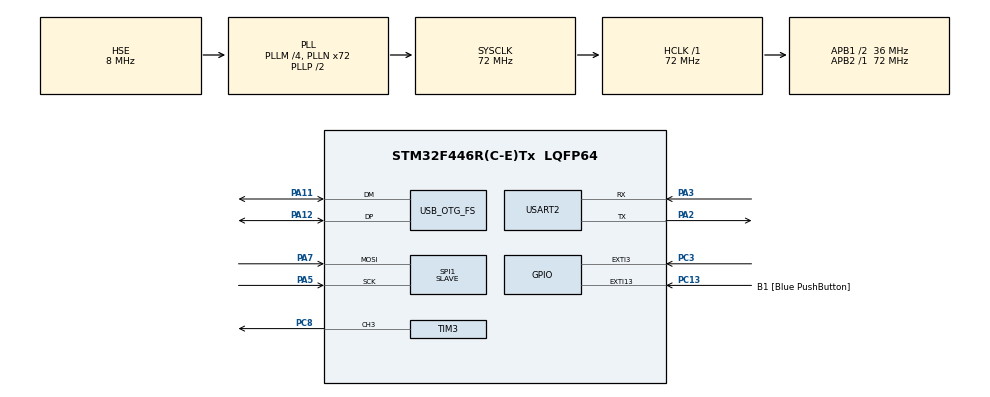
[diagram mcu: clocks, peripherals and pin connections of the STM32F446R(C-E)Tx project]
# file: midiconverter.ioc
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Dma.Request0=SPI1_RX
Dma.SPI1_RX.0.Direction=DMA_PERIPH_TO_MEMORY
Dma.SPI1_RX.0.FIFOMode=DMA_FIFOMODE_DISABLE
Dma.SPI1_RX.0.Instance=DMA2_Stream0
Dma.SPI1_RX.0.MemDataAlignment=DMA_MDATAALIGN_HALFWORD
Dma.SPI1_RX.0.MemInc=DMA_MINC_ENABLE
Dma.SPI1_RX.0.Mode=DMA_CIRCULAR
Dma.SPI1_RX.0.PeriphDataAlignment=DMA_PDATAALIGN_HALFWORD
Dma.SPI1_RX.0.PeriphInc=DMA_PINC_DISABLE
Dma.SPI1_RX.0.Priority=DMA_PRIORITY_LOW
Mcu.Family=STM32F4
Mcu.Name=STM32F446R(C-E)Tx
Mcu.Package=LQFP64
NVIC.DMA2_Stream0_IRQn=true\:0\:0\:false\:false\:true\:false\:true\:true
NVIC.PriorityGroup=NVIC_PRIORITYGROUP_0
PA11.Mode=Device_Only
PA11.Signal=USB_OTG_FS_DM
PA12.Mode=Device_Only
PA12.Signal=USB_OTG_FS_DP
PA13.GPIO_Label=TMS
PA13.Mode=Serial_Wire
PA13.Signal=SYS_JTMS-SWDIO
PA14.GPIO_Label=TCK
PA14.Mode=Serial_Wire
PA14.Signal=SYS_JTCK-SWCLK
PA2.Mode=Asynchronous
PA2.Signal=USART2_TX
PA3.Mode=Asynchronous
PA3.Signal=USART2_RX
PA5.Mode=RX_Only_Simplex_Unidirect_Slave
PA5.Signal=SPI1_SCK
PA7.Mode=RX_Only_Simplex_Unidirect_Slave
PA7.Signal=SPI1_MOSI
PB3.GPIO_Label=SWO
PB3.Signal=SYS_JTDO-SWO
PC13.GPIO_Label=B1 [Blue PushButton]
PC13.GPIO_ModeDefaultEXTI=GPIO_MODE_IT_FALLING
PC13.Signal=GPXTI13
PC14-OSC32_IN.Mode=LSE-External-Oscillator
PC14-OSC32_IN.Signal=RCC_OSC32_IN
PC15-OSC32_OUT.Mode=LSE-External-Oscillator
PC15-OSC32_OUT.Signal=RCC_OSC32_OUT
PC3.GPIO_ModeDefaultEXTI=GPIO_MODE_IT_RISING
PC3.GPIO_PuPd=GPIO_NOPULL
PC3.Signal=GPXTI3
PC8.Signal=S_TIM3_CH3
PH0-OSC_IN.Mode=HSE-External-Oscillator
PH0-OSC_IN.Signal=RCC_OSC_IN
PH1-OSC_OUT.Mode=HSE-External-Oscillator
PH1-OSC_OUT.Signal=RCC_OSC_OUT
ProjectManager.HeapSize=0x200
ProjectManager.StackSize=0x400
ProjectManager.TargetToolchain=STM32CubeIDE
RCC.48MHZClocksFreq_Value=84000000
RCC.AHBFreq_Value=72000000
RCC.APB1CLKDivider=RCC_HCLK_DIV2
RCC.APB1Freq_Value=36000000
RCC.APB1TimFreq_Value=72000000
RCC.APB2Freq_Value=72000000
RCC.APB2TimFreq_Value=72000000
RCC.CortexFreq_Value=72000000
RCC.FLatency-AdvancedSettings=FLASH_LATENCY_2
RCC.HCLKFreq_Value=72000000
RCC.HSE_VALUE=8000000
RCC.HSI_VALUE=16000000
RCC.PLLI2SM=32
RCC.PLLM=4
RCC.PLLN=72
RCC.PLLQ=3
RCC.PLLSAIM=32
RCC.SYSCLKFreq_VALUE=72000000
RCC.SYSCLKSource=RCC_SYSCLKSOURCE_PLLCLK
RCC.USBFreq_Value=48000000
RCC.VCOOutputFreq_Value=144000000
SH.S_TIM3_CH3.0=TIM3_CH3,PWM Generation3 CH3
SPI1.DataSize=SPI_DATASIZE_16BIT
SPI1.Direction=SPI_DIRECTION_2LINES_RXONLY
SPI1.Mode=SPI_MODE_SLAVE
SPI1.VirtualType=VM_SLAVE
TIM3.AutoReloadPreload=TIM_AUTORELOAD_PRELOAD_ENABLE
TIM3.Channel-PWM\ Generation3\ CH3=TIM_CHANNEL_3
TIM3.OCMode_PWM-PWM\ Generation3\ CH3=TIM_OCMODE_PWM1
TIM3.Period=2400
TIM3.Pulse-PWM\ Generation3\ CH3=1800
USART2.VirtualMode=VM_ASYNC
USART2.WordLength=WORDLENGTH_8B
USB_OTG_FS.VirtualMode=Device_Only
VP_TIM3_VS_ClockSourceINT.Mode=Internal
board=NUCLEO-F446RE

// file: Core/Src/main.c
/* USER CODE BEGIN Header */
/**
  ******************************************************************************
  * @file           : main.c
  * @brief          : Main program body
  ******************************************************************************
  * @attention
  *
  * Copyright (c) 2023 STMicroelectronics.
  * All rights reserved.
  *
  * This software is licensed under terms that can be found in the LICENSE file
  * in the root directory of this software component.
  * If no LICENSE file comes with this software, it is provided AS-IS.
  *
  ******************************************************************************
  */
/* USER CODE END Header */
#include "main.h"

/* USER CODE BEGIN Includes */
#include "dywapitchtrack.h"
//#include "usbd_midi_if.h"
#include <string.h>

/* USER CODE END Includes */

SPI_HandleTypeDef hspi1;
DMA_HandleTypeDef hdma_spi1_rx;

TIM_HandleTypeDef htim3;

UART_HandleTypeDef huart2;

PCD_HandleTypeDef hpcd_USB_OTG_FS;

/* USER CODE BEGIN PV */
#define BUFSIZE 2048
double buffer[BUFSIZE];
int buffer_index = 0;

#define LILBUFSIZE BUFSIZE << 1
int16_t lilbuf[LILBUFSIZE];

// A double value, used to determine if a note is off.
// I think this might depend on environment, so this might need adjusting
#define VOLUME_CUTOFF 1600.0

dywapitchtracker tracker;

double pitches[] = {
		24.0345,  // C0
		25.4604,  // C#0
		26.9745,  // D0
		28.5915,  // D#0
		30.282,   // E0
		32.0901,  // F0
		33.9864,  // ... you get the point
		36.015,
		38.1612,
		40.425,
		42.8358,
		45.3789,
		48.069,
		50.9355,
		53.9637,
		57.1683,
		60.564,
		64.1655,
		67.9875,
		72.03,
		76.3077,
		80.85,
		85.6569,
		90.7578,
		96.1527,
		101.871,
		107.9274,
		114.3366,
		121.1427,
		128.3457,
		135.975,
		144.06,
		152.6301,
		161.7,
		171.3138,
		181.5009,
		192.2907,
		203.7273,
		215.8401,
		228.6732,
		242.2707,
		256.6767,
		271.95,
		288.12,
		305.2455,
		323.4,
		342.6276,
		363.0018,
		384.5961,
		407.4546,
		431.6802,
		457.3611,
		484.5561,
		513.3681,
		543.8853,
		576.24,
		610.491,
		646.8,
		685.2552,
		726.0036,
};
int pitches_len = sizeof(pitches) / (sizeof *pitches);

int prev_note = -1;

char note_names[][4] = {
  "C0",
  "C#0",
  "D0",
  "D#0",
  "E0",
  "F0",
  "F#0",
  "G0",
  "G#0",
  "A0",
  "A#0",
  "B0",
  "C1",
  "C#1",
  "D1",
  "D#1",
  "E1",
  "F1",
  "F#1",
  "G1",
  "G#1",
  "A1",
  "A#1",
  "B1",
  "C2",
  "C#2",
  "D2",
  "D#2",
  "E2",
  "F2",
  "F#2",
  "G2",
  "G#2",
  "A2",
  "A#2",
  "B2",
  "C3",
  "C#3",
  "D3",
  "D#3",
  "E3",
  "F3",
  "F#3",
  "G3",
  "G#3",
  "A3",
  "A#3",
  "B3",
  "C4",
  "C#4",
  "D4",
  "D#4",
  "E4",
  "F4",
  "F#4",
  "G4",
  "G#4",
  "A4",
  "A#4",
  "B4",
};
/* USER CODE END PV */

void SystemClock_Config(void);
static void MX_GPIO_Init(void);
static void MX_DMA_Init(void);
static void MX_USART2_UART_Init(void);
static void MX_SPI1_Init(void);
static void MX_TIM3_Init(void);
static void MX_USB_OTG_FS_PCD_Init(void);
/* USER CODE BEGIN PFP */
void run_conversion();
/* USER CODE END PFP */

/* USER CODE BEGIN 0 */
//void HAL_GPIO_EXTI_Callback(uint16_t GPIO_Pin) {
//	int16_t sample;
//	HAL_SPI_Receive(&hspi1, (uint8_t *) (&sample), 1, 10);
//	buffer[buffer_index] = buffer[buffer_index + BUFSIZE] = (double) sample;
//	buffer_index = (buffer_index + 1) % BUFSIZE;
//	if ((buffer_index % BURSTSIZE) == 0) {
//		run_conversion();
//	}
//}

void HAL_SPI_RxHalfCpltCallback(SPI_HandleTypeDef* hspi) {
	for (int i = 0; i < 2048; i++) {
		buffer[i] = (double) lilbuf[i];
	}

	run_conversion();
}

void HAL_SPI_RxCpltCallback(SPI_HandleTypeDef* hspi) {
	// for (int i = 0; i < LILBUFSIZE; i++) {
		//buffer[buffer_index] = buffer[buffer_index + BUFSIZE] = (double) lilbuf[i];
		//++buffer_index;
	//}

	//buffer_index %= BUFSIZE;

	for (int i = 0; i < 2048; i++) {
		buffer[i] = (double) lilbuf[i + 2048];
	}

	run_conversion();
}

int sign (int n) {
	return n < 0 ? -1 : 1;
}

double absd (double n) {
  if (n < 0) n = 0 - n;
  return n;
}

void run_conversion() {

//	int16_t data = buffer[buffer_index];
//	int crossings = 0;
//	for (int i = buffer_index + 1; i != buffer_index; i = (i + 1) % BUFSIZE) {
//
//		if (sign(data) != sign(buffer[i])) crossings ++;
//		data = buffer[i];
//
//	}
//
//	unsigned char cdata[7] = "    \r\n";
//	int i = 3;
//	while (crossings && i) {
//		cdata[i] = '0' + crossings % 10;
//		crossings /= 10;
//		i--;
//	}
//
//	HAL_UART_Transmit (&huart2, cdata, 7, 10);

	double pitch = dywapitch_computepitch(&tracker, buffer, buffer_index, BUFSIZE);

	// Vpp approach to estimating volume
	double max = 0;
	double min = 0;

	for (int i = 0; i < BUFSIZE; i++) {
		if (buffer[i] > max) max = buffer[i];
		if (buffer[i] < min) min = buffer[i];
	}

	double vol = max - min;

	// figure out what note it probably is
	int note = 0;
	if (absd(pitch) < 1.0 || vol < VOLUME_CUTOFF) note = -1;
	else while (note + 1 < pitches_len && absd(pitch - pitches[note + 1]) < absd(pitch - pitches[note])) {
		note++;
	}

	char usart_message[30];

	// TODO - debounce? unsure if needed

	if (note != prev_note) {
		// Turn off the previous note, then turn on the new one.
		// TODO - velocity? volume?
		// MIDI_note_off(prev_note + 24, 20);
		if (prev_note != -1) {
			sprintf(usart_message, "Note off: %s\r\n", note_names[prev_note]);
			HAL_UART_Transmit(&huart2, usart_message, strlen(usart_message), 10);
		}
		if (note != -1) {
			// MIDI_note_on(note + 24, 20);
			sprintf(usart_message, "Note on: %s\r\n", note_names[note]);
			HAL_UART_Transmit(&huart2, usart_message, strlen(usart_message), 10);
    	}
	}

	// Volume debugging, useful to figure out what your threshold should be
	// sprintf(usart_message, "Vol: %i\r\n", (int) vol);
	// HAL_UART_Transmit(&huart2, usart_message, strlen(usart_message), 10);

	prev_note = note;

}
/* USER CODE END 0 */

int main(void)
{

  /* MCU Configuration--------------------------------------------------------*/

  /* Reset of all peripherals, Initializes the Flash interface and the Systick. */
  HAL_Init();

  /* Configure the system clock */
  SystemClock_Config();

  /* Initialize all configured peripherals */
  MX_GPIO_Init();
  MX_DMA_Init();
  MX_USART2_UART_Init();
  MX_SPI1_Init();
  MX_TIM3_Init();
  MX_USB_OTG_FS_PCD_Init();
  /* USER CODE BEGIN 2 */
  HAL_TIM_PWM_Start(&htim3, TIM_CHANNEL_3);

  dywapitch_inittracking(&tracker);

  HAL_SPI_Receive_DMA(&hspi1, (uint8_t*) lilbuf, LILBUFSIZE);
  /* USER CODE END 2 */

  /* Infinite loop */
  while (1)
  {

  }
}

void SystemClock_Config(void)
{
  RCC_OscInitTypeDef RCC_OscInitStruct = {0};
  RCC_ClkInitTypeDef RCC_ClkInitStruct = {0};

  /** Configure the main internal regulator output voltage
  */
  __HAL_RCC_PWR_CLK_ENABLE();
  __HAL_PWR_VOLTAGESCALING_CONFIG(PWR_REGULATOR_VOLTAGE_SCALE3);

  /** Initializes the RCC Oscillators according to the specified parameters
  * in the RCC_OscInitTypeDef structure.
  */
  RCC_OscInitStruct.OscillatorType = RCC_OSCILLATORTYPE_HSE;
  RCC_OscInitStruct.HSEState = RCC_HSE_ON;
  RCC_OscInitStruct.PLL.PLLState = RCC_PLL_ON;
  RCC_OscInitStruct.PLL.PLLSource = RCC_PLLSOURCE_HSE;
  RCC_OscInitStruct.PLL.PLLM = 4;
  RCC_OscInitStruct.PLL.PLLN = 72;
  RCC_OscInitStruct.PLL.PLLP = RCC_PLLP_DIV2;
  RCC_OscInitStruct.PLL.PLLQ = 3;
  RCC_OscInitStruct.PLL.PLLR = 2;
  if (HAL_RCC_OscConfig(&RCC_OscInitStruct) != HAL_OK)
  {
    Error_Handler();
  }

  /** Initializes the CPU, AHB and APB buses clocks
  */
  RCC_ClkInitStruct.ClockType = RCC_CLOCKTYPE_HCLK|RCC_CLOCKTYPE_SYSCLK
                              |RCC_CLOCKTYPE_PCLK1|RCC_CLOCKTYPE_PCLK2;
  RCC_ClkInitStruct.SYSCLKSource = RCC_SYSCLKSOURCE_PLLCLK;
  RCC_ClkInitStruct.AHBCLKDivider = RCC_SYSCLK_DIV1;
  RCC_ClkInitStruct.APB1CLKDivider = RCC_HCLK_DIV2;
  RCC_ClkInitStruct.APB2CLKDivider = RCC_HCLK_DIV1;

  if (HAL_RCC_ClockConfig(&RCC_ClkInitStruct, FLASH_LATENCY_2) != HAL_OK)
  {
    Error_Handler();
  }
}

static void MX_SPI1_Init(void)
{

  /* SPI1 parameter configuration*/
  hspi1.Instance = SPI1;
  hspi1.Init.Mode = SPI_MODE_SLAVE;
  hspi1.Init.Direction = SPI_DIRECTION_2LINES_RXONLY;
  hspi1.Init.DataSize = SPI_DATASIZE_16BIT;
  hspi1.Init.CLKPolarity = SPI_POLARITY_LOW;
  hspi1.Init.CLKPhase = SPI_PHASE_1EDGE;
  hspi1.Init.NSS = SPI_NSS_SOFT;
  hspi1.Init.FirstBit = SPI_FIRSTBIT_MSB;
  hspi1.Init.TIMode = SPI_TIMODE_DISABLE;
  hspi1.Init.CRCCalculation = SPI_CRCCALCULATION_DISABLE;
  hspi1.Init.CRCPolynomial = 10;
  if (HAL_SPI_Init(&hspi1) != HAL_OK)
  {
    Error_Handler();
  }

}

static void MX_TIM3_Init(void)
{

  TIM_ClockConfigTypeDef sClockSourceConfig = {0};
  TIM_MasterConfigTypeDef sMasterConfig = {0};
  TIM_OC_InitTypeDef sConfigOC = {0};

  htim3.Instance = TIM3;
  htim3.Init.Prescaler = 0;
  htim3.Init.CounterMode = TIM_COUNTERMODE_UP;
  htim3.Init.Period = 2400;
  htim3.Init.ClockDivision = TIM_CLOCKDIVISION_DIV1;
  htim3.Init.AutoReloadPreload = TIM_AUTORELOAD_PRELOAD_ENABLE;
  if (HAL_TIM_Base_Init(&htim3) != HAL_OK)
  {
    Error_Handler();
  }
  sClockSourceConfig.ClockSource = TIM_CLOCKSOURCE_INTERNAL;
  if (HAL_TIM_ConfigClockSource(&htim3, &sClockSourceConfig) != HAL_OK)
  {
    Error_Handler();
  }
  if (HAL_TIM_PWM_Init(&htim3) != HAL_OK)
  {
    Error_Handler();
  }
  sMasterConfig.MasterOutputTrigger = TIM_TRGO_RESET;
  sMasterConfig.MasterSlaveMode = TIM_MASTERSLAVEMODE_DISABLE;
  if (HAL_TIMEx_MasterConfigSynchronization(&htim3, &sMasterConfig) != HAL_OK)
  {
    Error_Handler();
  }
  sConfigOC.OCMode = TIM_OCMODE_PWM1;
  sConfigOC.Pulse = 1800;
  sConfigOC.OCPolarity = TIM_OCPOLARITY_HIGH;
  sConfigOC.OCFastMode = TIM_OCFAST_DISABLE;
  if (HAL_TIM_PWM_ConfigChannel(&htim3, &sConfigOC, TIM_CHANNEL_3) != HAL_OK)
  {
    Error_Handler();
  }
  HAL_TIM_MspPostInit(&htim3);

}

static void MX_USART2_UART_Init(void)
{

  huart2.Instance = USART2;
  huart2.Init.BaudRate = 115200;
  huart2.Init.WordLength = UART_WORDLENGTH_8B;
  huart2.Init.StopBits = UART_STOPBITS_1;
  huart2.Init.Parity = UART_PARITY_NONE;
  huart2.Init.Mode = UART_MODE_TX_RX;
  huart2.Init.HwFlowCtl = UART_HWCONTROL_NONE;
  huart2.Init.OverSampling = UART_OVERSAMPLING_16;
  if (HAL_UART_Init(&huart2) != HAL_OK)
  {
    Error_Handler();
  }

}

static void MX_USB_OTG_FS_PCD_Init(void)
{

  hpcd_USB_OTG_FS.Instance = USB_OTG_FS;
  hpcd_USB_OTG_FS.Init.dev_endpoints = 6;
  hpcd_USB_OTG_FS.Init.speed = PCD_SPEED_FULL;
  hpcd_USB_OTG_FS.Init.dma_enable = DISABLE;
  hpcd_USB_OTG_FS.Init.phy_itface = PCD_PHY_EMBEDDED;
  hpcd_USB_OTG_FS.Init.Sof_enable = DISABLE;
  hpcd_USB_OTG_FS.Init.low_power_enable = DISABLE;
  hpcd_USB_OTG_FS.Init.lpm_enable = DISABLE;
  hpcd_USB_OTG_FS.Init.vbus_sensing_enable = DISABLE;
  hpcd_USB_OTG_FS.Init.use_dedicated_ep1 = DISABLE;
  if (HAL_PCD_Init(&hpcd_USB_OTG_FS) != HAL_OK)
  {
    Error_Handler();
  }

}

static void MX_DMA_Init(void)
{

  /* DMA controller clock enable */
  __HAL_RCC_DMA2_CLK_ENABLE();

  /* DMA interrupt init */
  /* DMA2_Stream0_IRQn interrupt configuration */
  HAL_NVIC_SetPriority(DMA2_Stream0_IRQn, 0, 0);
  HAL_NVIC_EnableIRQ(DMA2_Stream0_IRQn);

}

static void MX_GPIO_Init(void)
{
  GPIO_InitTypeDef GPIO_InitStruct = {0};

  /* GPIO Ports Clock Enable */
  __HAL_RCC_GPIOC_CLK_ENABLE();
  __HAL_RCC_GPIOH_CLK_ENABLE();
  __HAL_RCC_GPIOA_CLK_ENABLE();
  __HAL_RCC_GPIOB_CLK_ENABLE();

  /*Configure GPIO pin : B1_Pin */
  GPIO_InitStruct.Pin = B1_Pin;
  GPIO_InitStruct.Mode = GPIO_MODE_IT_FALLING;
  GPIO_InitStruct.Pull = GPIO_NOPULL;
  HAL_GPIO_Init(B1_GPIO_Port, &GPIO_InitStruct);

  /*Configure GPIO pin : PC3 */
  GPIO_InitStruct.Pin = GPIO_PIN_3;
  GPIO_InitStruct.Mode = GPIO_MODE_IT_RISING;
  GPIO_InitStruct.Pull = GPIO_NOPULL;
  HAL_GPIO_Init(GPIOC, &GPIO_InitStruct);

}

void Error_Handler(void)
{
  __disable_irq();
  while (1)
  {
  }
}
